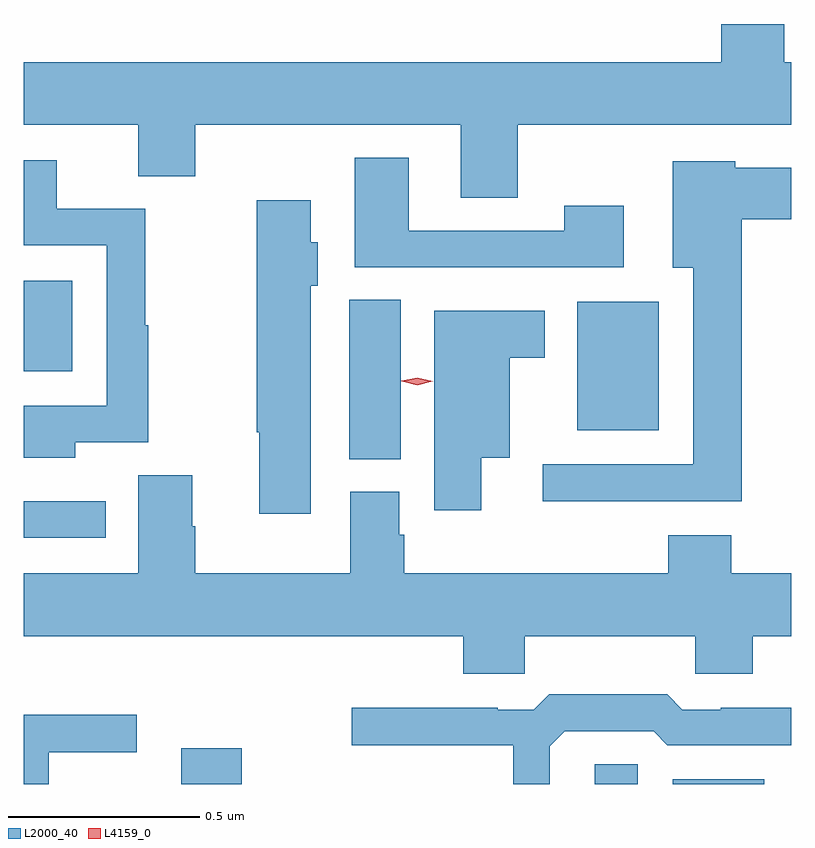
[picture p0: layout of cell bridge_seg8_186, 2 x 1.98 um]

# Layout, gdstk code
import gdstk
lib = gdstk.Library(unit=1e-6, precision=1e-09)
def R(c, l, rs):  # rectangles x0, y0, x1, y1
    for r in rs: c.add(gdstk.rectangle(r[:2], r[2:], *l))
def P(c, l, *ps):  # polygons
    for p in ps: c.add(gdstk.Polygon(p, *l))
L2000_40 = (2000, 40)
L4159_0 = (4159, 0)

bridge_seg8_186 = lib.new_cell('bridge_seg8_186')
R(bridge_seg8_186, L2000_40, [(347.852,1100.131,348.01,1100.224), (348.93,1100.131,349.042,1100.183), (349.133,1100.131,349.372,1100.143), (347.442,1100.772,347.656,1100.868), (348.29,1100.977,348.424,1101.392), (348.884,1101.053,349.096,1101.388), (347.442,1101.206,347.569,1101.442)])
P(bridge_seg8_186, L2000_40, [(348.729,1101.848),(349.442,1101.848),(349.442,1102.012),(349.424,1102.012),(349.424,1102.111),(349.259,1102.111),(349.259,1102.012),(347.442,1102.012),(347.442,1101.848),(347.741,1101.848),(347.741,1101.715),(347.889,1101.715),(347.889,1101.848),(348.581,1101.848),(348.581,1101.658),(348.729,1101.658)],
  [(349.006,1101.637),(348.85,1101.637),(348.85,1101.573),(348.445,1101.573),(348.445,1101.763),(348.305,1101.763),(348.305,1101.477),(349.006,1101.477)],
  [(347.577,1101.021),(347.767,1101.021),(347.767,1101.326),(347.759,1101.326),(347.759,1101.63),(347.528,1101.63),(347.528,1101.756),(347.442,1101.756),(347.442,1101.534),(347.658,1101.534),(347.658,1101.117),(347.442,1101.117),(347.442,1100.981),(347.577,1100.981)],
  [(349.313,1101.602),(349.442,1101.602),(349.442,1101.736),(349.296,1101.736),(349.296,1101.754),(349.133,1101.754),(349.133,1101.476),(349.187,1101.476),(349.187,1100.964),(348.795,1100.964),(348.795,1100.867),(349.313,1100.867)],
  [(348.19,1101.429),(348.208,1101.429),(348.208,1101.543),(348.19,1101.543),(348.19,1101.652),(348.049,1101.652),(348.049,1101.047),(348.056,1101.047),(348.056,1100.835),(348.19,1100.835)],
  [(348.634,1100.981),(348.709,1100.981),(348.709,1101.242),(348.799,1101.242),(348.799,1101.364),(348.512,1101.364),(348.512,1100.844),(348.634,1100.844)],
  [(348.421,1100.781),(348.421,1100.892),(348.293,1100.892),(348.293,1100.68),(347.889,1100.68),(347.889,1100.802),(347.881,1100.802),(347.881,1100.936),(347.741,1100.936),(347.741,1100.68),(347.442,1100.68),(347.442,1100.516),(348.587,1100.516),(348.587,1100.418),(348.747,1100.418),(348.747,1100.516),(349.192,1100.516),(349.192,1100.418),(349.342,1100.418),(349.342,1100.516),(349.442,1100.516),(349.442,1100.68),(349.286,1100.68),(349.286,1100.779),(349.121,1100.779),(349.121,1100.68),(348.434,1100.68),(348.434,1100.781)],
  [(348.813,1100.229),(348.852,1100.268),(349.083,1100.268),(349.119,1100.232),(349.442,1100.232),(349.442,1100.33),(349.258,1100.33),(349.258,1100.325),(349.158,1100.325),(349.119,1100.365),(348.811,1100.365),(348.771,1100.325),(348.677,1100.325),(348.677,1100.33),(348.297,1100.33),(348.297,1100.232),(348.717,1100.232),(348.717,1100.131),(348.813,1100.131)],
  [(347.508,1100.214),(347.737,1100.214),(347.737,1100.312),(347.442,1100.312),(347.442,1100.131),(347.508,1100.131)])
P(bridge_seg8_186, L4159_0, [(348.467,1101.17),(348.427,1101.18),(348.426,1101.181),(348.427,1101.181),(348.467,1101.19),(348.508,1101.18),(348.508,1101.18),(348.508,1101.18)])

lib.write_gds('bridge_seg8_186.gds')
